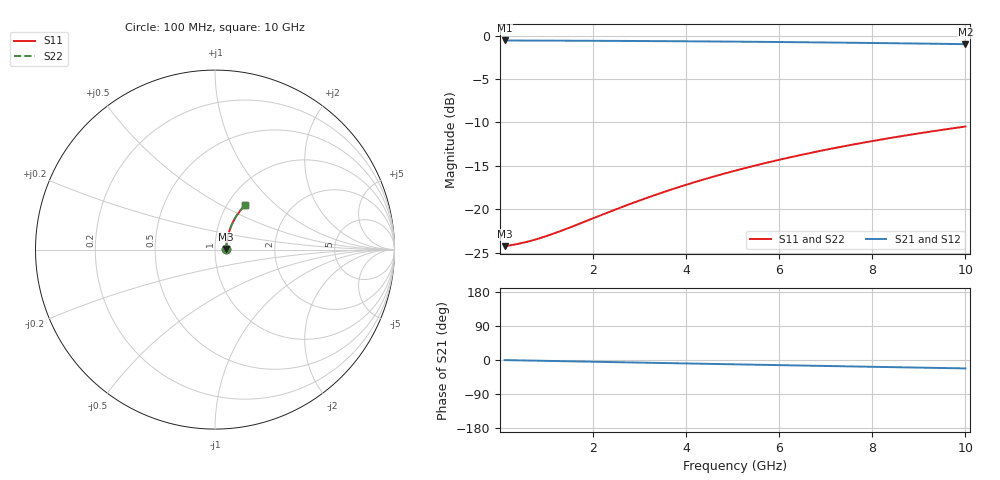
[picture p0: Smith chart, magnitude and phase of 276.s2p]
# Hz S RI R 50.00
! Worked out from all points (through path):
!   100 points, 100 MHz to 10 GHz, reference 50 ohm
!   highest |S21| = -0.55 dB at 100 MHz (marker M1); lowest = -1.0 dB at 10 GHz (marker M2)
!   group delay of S21, straight-line fit = 6.17 ps
!   lowest |S11| = -24.3 dB at 100 MHz (marker M3), VSWR 1.13, Z = 56.5 + j0.325 ohm
!   |S11| at or under -10 dB: start of sweep to end of sweep
!   |S22| runs from -24.3 to -10.5 dB; largest |S21 - S12| = 0
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1e8  0.0612 0.00286  0.9388 -0.00375  0.9388 -0.00375  0.0612 0.00286
3e8  0.062 0.00857  0.938 -0.0112  0.938 -0.0112  0.062 0.00857
5e8  0.0626 0.0143  0.9374 -0.0187  0.9374 -0.0187  0.0626 0.0143
8e8  0.0635 0.0228  0.9365 -0.0299  0.9365 -0.0299  0.0635 0.0228
1e9  0.0641 0.0284  0.9359 -0.0373  0.9359 -0.0373  0.0641 0.0284
1.2e9  0.0648 0.0341  0.9351 -0.0448  0.9351 -0.0448  0.0648 0.0341
1.5e9  0.066 0.0425  0.9339 -0.0559  0.9339 -0.0559  0.066 0.0425
1.8e9  0.0673 0.051  0.9325 -0.067  0.9325 -0.067  0.0673 0.051
2.7e9  0.0724 0.0759  0.9273 -0.0999  0.9273 -0.0999  0.0724 0.0759
3.1e9  0.0752 0.0869  0.9244 -0.1144  0.9244 -0.1144  0.0752 0.0869
3.4e9  0.0775 0.095  0.922 -0.1252  0.922 -0.1252  0.0775 0.095
3.8e9  0.0808 0.1057  0.9186 -0.1395  0.9186 -0.1395  0.0808 0.1057
4.2e9  0.0844 0.1163  0.9148 -0.1537  0.9148 -0.1537  0.0844 0.1163
4.6e9  0.0884 0.1267  0.9107 -0.1677  0.9107 -0.1677  0.0884 0.1267
5.1e9  0.0938 0.1395  0.9051 -0.185  0.9051 -0.185  0.0938 0.1395
5.5e9  0.0984 0.1496  0.9003 -0.1986  0.9003 -0.1986  0.0984 0.1496
5.9e9  0.1033 0.1595  0.8952 -0.2121  0.8952 -0.2121  0.1033 0.1595
6.7e9  0.114 0.1786  0.8841 -0.2384  0.8841 -0.2384  0.114 0.1786
7.5e9  0.1258 0.1969  0.8719 -0.2638  0.8719 -0.2638  0.1258 0.1969
8.4e9  0.1401 0.2164  0.857 -0.2914  0.857 -0.2914  0.1401 0.2164
9.2e9  0.1538 0.2327  0.8427 -0.3149  0.8427 -0.3149  0.1538 0.2327
1e10  0.1682 0.2479  0.8276 -0.3374  0.8276 -0.3374  0.1682 0.2479
